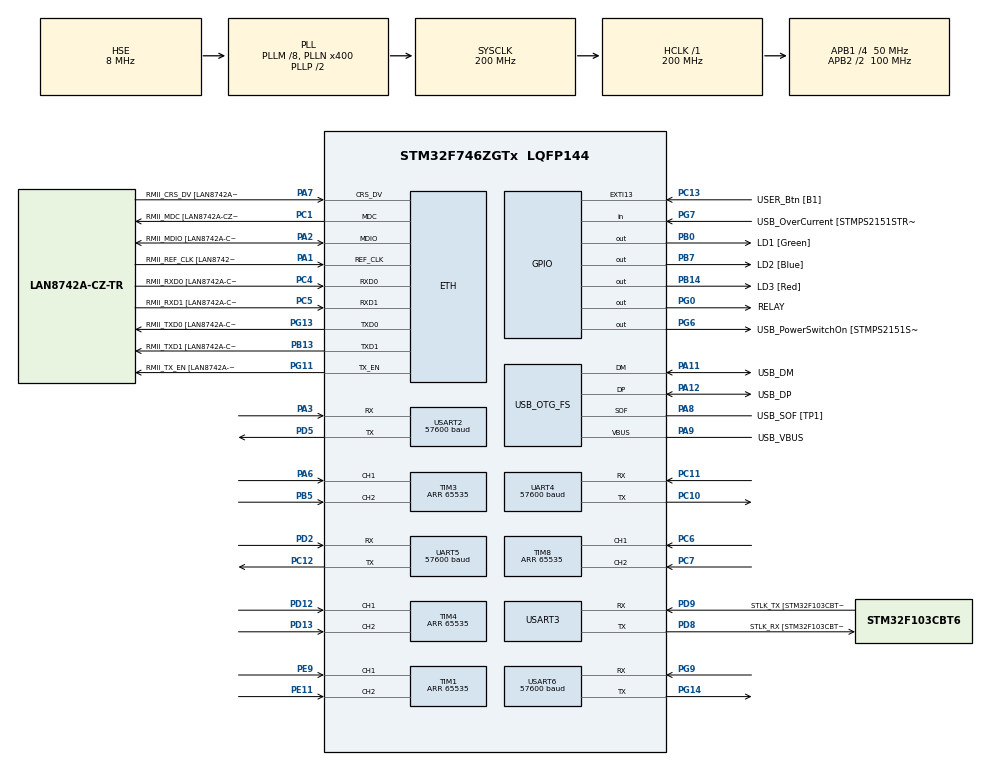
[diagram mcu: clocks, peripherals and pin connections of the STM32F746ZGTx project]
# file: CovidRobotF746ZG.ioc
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ETH.AutoNegotiation=ETH_AUTONEGOTIATION_DISABLE
ETH.MediaInterface=ETH_MEDIA_INTERFACE_RMII
ETH.PHY_Name=LAN8742A_PHY_ADDRESS
ETH.PHY_Value=0
ETH.PhyAddress=0
FREERTOS.Tasks01=Main_Task,48,512,MainTask,As weak,NULL,Dynamic,NULL,NULL;Blink_LED,8,256,BlinkLED,As weak,NULL,Dynamic,NULL,NULL;UDP_Communicati,40,1024,UDPcommunication,As weak,NULL,Dynamic,NULL,NULL;Comp_Wheel_Spds,49,1024,CompWheelSpeeds,As weak,NULL,Dynamic,NULL,NULL
FREERTOS.configENABLE_BACKWARD_COMPATIBILITY=0
FREERTOS.configMINIMAL_STACK_SIZE=256
LWIP.GATEWAY_ADDRESS=192.168.000.001
LWIP.IP_ADDRESS=192.168.000.010
LWIP.LWIP_DHCP=0
LWIP.LWIP_TCP=0
LWIP.MEMP_NUM_NETBUF=4
LWIP.MEMP_NUM_NETCONN=8
LWIP.MEMP_NUM_RAW_PCB=16
LWIP.MEMP_NUM_SYS_TIMEOUT=4
LWIP.MEMP_NUM_TCP_PCB=0
LWIP.NETMASK_ADDRESS=255.255.192.000
LWIP.Version=v2.1.2_Cube
Mcu.Family=STM32F7
Mcu.Name=STM32F746ZGTx
Mcu.Package=LQFP144
NVIC.ETH_IRQn=true\:5\:0\:false\:false\:true\:true\:false\:true
NVIC.PriorityGroup=NVIC_PRIORITYGROUP_4
NVIC.TIM6_DAC_IRQn=true\:0\:0\:false\:false\:true\:false\:false\:true
NVIC.TimeBase=TIM6_DAC_IRQn
NVIC.TimeBaseIP=TIM6
PA1.GPIO_Label=RMII_REF_CLK [LAN8742A-CZ-TR_REFCLK0]
PA1.Mode=RMII
PA1.Signal=ETH_REF_CLK
PA10.GPIO_Label=USB_ID
PA10.Signal=USB_OTG_FS_ID
PA11.GPIO_Label=USB_DM
PA11.Mode=Device_Only
PA11.Signal=USB_OTG_FS_DM
PA12.GPIO_Label=USB_DP
PA12.Mode=Device_Only
PA12.Signal=USB_OTG_FS_DP
PA13.GPIO_Label=TMS
PA13.Mode=Serial_Wire
PA13.Signal=SYS_JTMS-SWDIO
PA14.GPIO_Label=TCK
PA14.Mode=Serial_Wire
PA14.Signal=SYS_JTCK-SWCLK
PA2.GPIO_Label=RMII_MDIO [LAN8742A-CZ-TR_MDIO]
PA2.Mode=RMII
PA2.Signal=ETH_MDIO
PA3.Mode=Asynchronous
PA3.Signal=USART2_RX
PA6.Signal=S_TIM3_CH1
PA7.GPIO_Label=RMII_CRS_DV [LAN8742A-CZ-TR_CRS_DV]
PA7.Mode=RMII
PA7.Signal=ETH_CRS_DV
PA8.GPIO_Label=USB_SOF [TP1]
PA8.Mode=Activate_SOF_FS
PA8.Signal=USB_OTG_FS_SOF
PA9.GPIO_Label=USB_VBUS
PA9.Mode=Activate_VBUS
PA9.Signal=USB_OTG_FS_VBUS
PB0.GPIO_Label=LD1 [Green]
PB0.Signal=GPIO_Output
PB13.GPIO_Label=RMII_TXD1 [LAN8742A-CZ-TR_TXD1]
PB13.Mode=RMII
PB13.Signal=ETH_TXD1
PB14.GPIO_Label=LD3 [Red]
PB14.Signal=GPIO_Output
PB3.GPIO_Label=SW0
PB3.Signal=SYS_JTDO-SWO
PB5.Signal=S_TIM3_CH2
PB7.GPIO_Label=LD2 [Blue]
PB7.Signal=GPIO_Output
PC1.GPIO_Label=RMII_MDC [LAN8742A-CZ-TR_MDC]
PC1.Mode=RMII
PC1.Signal=ETH_MDC
PC10.Mode=Asynchronous
PC10.Signal=UART4_TX
PC11.Mode=Asynchronous
PC11.Signal=UART4_RX
PC12.Mode=Asynchronous
PC12.Signal=UART5_TX
PC13.GPIO_Label=USER_Btn [B1]
PC13.Signal=GPXTI13
PC14/OSC32_IN.Mode=LSE-External-Oscillator
PC14/OSC32_IN.Signal=RCC_OSC32_IN
PC15/OSC32_OUT.Mode=LSE-External-Oscillator
PC15/OSC32_OUT.Signal=RCC_OSC32_OUT
PC4.GPIO_Label=RMII_RXD0 [LAN8742A-CZ-TR_RXD0]
PC4.Mode=RMII
PC4.Signal=ETH_RXD0
PC5.GPIO_Label=RMII_RXD1 [LAN8742A-CZ-TR_RXD1]
PC5.Mode=RMII
PC5.Signal=ETH_RXD1
PC6.Signal=S_TIM8_CH1
PC7.Signal=S_TIM8_CH2
PD12.Signal=S_TIM4_CH1
PD13.Signal=S_TIM4_CH2
PD2.Mode=Asynchronous
PD2.Signal=UART5_RX
PD5.Mode=Asynchronous
PD5.Signal=USART2_TX
PD8.GPIO_Label=STLK_RX [STM32F103CBT6_PA3]
PD8.Mode=Asynchronous
PD8.Signal=USART3_TX
PD9.GPIO_Label=STLK_TX [STM32F103CBT6_PA2]
PD9.Mode=Asynchronous
PD9.Signal=USART3_RX
PE11.Signal=S_TIM1_CH2
PE9.Signal=S_TIM1_CH1
PG0.GPIO_Label=RELAY
PG0.Signal=GPIO_Output
PG11.GPIO_Label=RMII_TX_EN [LAN8742A-CZ-TR_TXEN]
PG11.Mode=RMII
PG11.Signal=ETH_TX_EN
PG13.GPIO_Label=RMII_TXD0 [LAN8742A-CZ-TR_TXD0]
PG13.Mode=RMII
PG13.Signal=ETH_TXD0
PG14.Mode=Asynchronous
PG14.Signal=USART6_TX
PG6.GPIO_Label=USB_PowerSwitchOn [STMPS2151STR_EN]
PG6.Signal=GPIO_Output
PG7.GPIO_Label=USB_OverCurrent [STMPS2151STR_FAULT]
PG7.Signal=GPIO_Input
PG9.Mode=Asynchronous
PG9.Signal=USART6_RX
PH0/OSC_IN.GPIO_Label=MCO [STM32F103CBT6_PA8]
PH0/OSC_IN.Mode=HSE-External-Clock-Source
PH0/OSC_IN.Signal=RCC_OSC_IN
PH1/OSC_OUT.Mode=HSE-External-Clock-Source
PH1/OSC_OUT.Signal=RCC_OSC_OUT
ProjectManager.HeapSize=0x200
ProjectManager.StackSize=0x400
ProjectManager.TargetToolchain=SW4STM32
RCC.48MHZClocksFreq_Value=24000000
RCC.AHBFreq_Value=200000000
RCC.APB1CLKDivider=RCC_HCLK_DIV4
RCC.APB1Freq_Value=50000000
RCC.APB1TimFreq_Value=100000000
RCC.APB2CLKDivider=RCC_HCLK_DIV2
RCC.APB2Freq_Value=100000000
RCC.APB2TimFreq_Value=200000000
RCC.CortexFreq_Value=200000000
RCC.HCLKFreq_Value=200000000
RCC.HSE_VALUE=8000000
RCC.HSI_VALUE=16000000
RCC.PLL48CLockSelection=RCC_CLK48SOURCE_PLLSAIP
RCC.PLLM=8
RCC.PLLMUL=RCC_PLL_MUL9
RCC.PLLN=400
RCC.PLLQ=8
RCC.PLLSAIP=RCC_PLLSAIP_DIV4
RCC.PRESCALERUSB=RCC_USBCLKSOURCE_PLL_DIV1_5
RCC.SYSCLKFreq_VALUE=200000000
RCC.SYSCLKSource=RCC_SYSCLKSOURCE_PLLCLK
RCC.SYSCLKSourceVirtual=RCC_SYSCLKSOURCE_PLLCLK
RCC.USBFreq_Value=48000000
RCC.VCOOutputFreq_Value=400000000
SH.S_TIM1_CH1.0=TIM1_CH1,Encoder_Interface
SH.S_TIM1_CH2.0=TIM1_CH2,Encoder_Interface
SH.S_TIM3_CH1.0=TIM3_CH1,Encoder_Interface
SH.S_TIM3_CH2.0=TIM3_CH2,Encoder_Interface
SH.S_TIM4_CH1.0=TIM4_CH1,Encoder_Interface
SH.S_TIM4_CH2.0=TIM4_CH2,Encoder_Interface
SH.S_TIM8_CH1.0=TIM8_CH1,Encoder_Interface
SH.S_TIM8_CH2.0=TIM8_CH2,Encoder_Interface
TIM1.EncoderMode=TIM_ENCODERMODE_TI12
TIM1.IC1Filter=5
TIM1.IC2Filter=5
TIM1.Period=65535
TIM3.EncoderMode=TIM_ENCODERMODE_TI12
TIM3.IC1Filter=5
TIM3.IC2Filter=5
TIM3.Period=65535
TIM4.EncoderMode=TIM_ENCODERMODE_TI12
TIM4.IC1Filter=5
TIM4.IC2Filter=5
TIM4.Period=65535
TIM8.EncoderMode=TIM_ENCODERMODE_TI12
TIM8.IC1Filter=5
TIM8.IC2Filter=5
TIM8.Period=65535
UART4.BaudRate=57600
UART5.BaudRate=57600
USART2.BaudRate=57600
USART2.VirtualMode-Asynchronous=VM_ASYNC
USART3.VirtualMode-Asynchronous=VM_ASYNC
USART6.BaudRate=57600
USART6.VirtualMode-Asynchronous=VM_ASYNC
USB_OTG_FS.VirtualMode=Device_Only
VP_FREERTOS_VS_CMSIS_V2.Mode=CMSIS_V2
VP_LWIP_VS_Enabled.Mode=Enabled
VP_SYS_VS_tim6.Mode=TIM6
board=NUCLEO-F746ZG

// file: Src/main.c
/* USER CODE BEGIN Header */
/**
  ******************************************************************************
  * @file           : main.c
  * @brief          : Main program body
  ******************************************************************************
  * @attention
  *
  * <h2><center>&copy; Copyright (c) 2020 STMicroelectronics.
  * All rights reserved.</center></h2>
  *
  * This software component is licensed by ST under Ultimate Liberty license
  * SLA0044, the "License"; You may not use this file except in compliance with
  * the License. You may obtain a copy of the License at:
  *                             www.st.com/SLA0044
  *
  ******************************************************************************
  */
/* USER CODE END Header */
#include "main.h"
#include "cmsis_os.h"
#include "lwip.h"

TIM_HandleTypeDef htim1;
TIM_HandleTypeDef htim3;
TIM_HandleTypeDef htim4;
TIM_HandleTypeDef htim8;

UART_HandleTypeDef huart4;
UART_HandleTypeDef huart5;
UART_HandleTypeDef huart2;
UART_HandleTypeDef huart3;
UART_HandleTypeDef huart6;

PCD_HandleTypeDef hpcd_USB_OTG_FS;

/* Definitions for Main_Task */
osThreadId_t Main_TaskHandle;
const osThreadAttr_t Main_Task_attributes = {
  .name = "Main_Task",
  .stack_size = 512 * 4,
  .priority = (osPriority_t) osPriorityRealtime,
};
/* Definitions for Blink_LED */
osThreadId_t Blink_LEDHandle;
const osThreadAttr_t Blink_LED_attributes = {
  .name = "Blink_LED",
  .stack_size = 256 * 4,
  .priority = (osPriority_t) osPriorityLow,
};
/* Definitions for UDP_Communicati */
osThreadId_t UDP_CommunicatiHandle;
const osThreadAttr_t UDP_Communicati_attributes = {
  .name = "UDP_Communicati",
  .stack_size = 1024 * 4,
  .priority = (osPriority_t) osPriorityHigh,
};
/* Definitions for Comp_Wheel_Spds */
osThreadId_t Comp_Wheel_SpdsHandle;
const osThreadAttr_t Comp_Wheel_Spds_attributes = {
  .name = "Comp_Wheel_Spds",
  .stack_size = 1024 * 4,
  .priority = (osPriority_t) osPriorityRealtime1,
};
/* USER CODE BEGIN PV */
uint8_t V_AR_hB=0;
uint8_t V_AR_lB=0;
uint8_t V_AL_hB=0;
uint8_t V_AL_lB=0;
uint8_t V_PR_hB=0;
uint8_t V_PR_lB=0;
uint8_t V_PL_hB=0;
uint8_t V_PL_lB=0;

uint8_t MotorEnable=0;
uint8_t WriteMotorState=0;
uint8_t LampEnable=0;

long int mywatchdog=1200;

UART_HandleTypeDef *SERIALDEBUG = &huart3;
UART_HandleTypeDef *MOTOR_AR = &huart4;
UART_HandleTypeDef *MOTOR_AL = &huart5;
UART_HandleTypeDef *MOTOR_PR = &huart6;
UART_HandleTypeDef *MOTOR_PL = &huart2;

float speed_AR = 0;
float speed_AL = 0;
float speed_PR = 0;
float speed_PL = 0;

/*
 * Motor AR -> UART 4 -> TIM 8
 * Motor AL -> UART 5 -> TIM 3
 * Motor PR -> UART 6 -> TIM 1
 * Motor AL -> UART 2 -> TIM 4
 */

/* USER CODE END PV */

void SystemClock_Config(void);
static void MX_GPIO_Init(void);
static void MX_USART3_UART_Init(void);
static void MX_USB_OTG_FS_PCD_Init(void);
static void MX_TIM1_Init(void);
static void MX_TIM3_Init(void);
static void MX_TIM4_Init(void);
static void MX_TIM8_Init(void);
static void MX_UART4_Init(void);
static void MX_UART5_Init(void);
static void MX_USART2_UART_Init(void);
static void MX_USART6_UART_Init(void);
void MainTask(void *argument);
void BlinkLED(void *argument);
void UDPcommunication(void *argument);
void CompWheelSpeeds(void *argument);

int main(void)
{

  /* MCU Configuration--------------------------------------------------------*/

  /* Reset of all peripherals, Initializes the Flash interface and the Systick. */
  HAL_Init();

  /* Configure the system clock */
  SystemClock_Config();

  /* Initialize all configured peripherals */
  MX_GPIO_Init();
  MX_USART3_UART_Init();
  MX_USB_OTG_FS_PCD_Init();
  MX_TIM1_Init();
  MX_TIM3_Init();
  MX_TIM4_Init();
  MX_TIM8_Init();
  MX_UART4_Init();
  MX_UART5_Init();
  MX_USART2_UART_Init();
  MX_USART6_UART_Init();
  /* USER CODE BEGIN 2 */
  HAL_GPIO_WritePin(RELAY_GPIO_Port, RELAY_Pin, 1);
  HAL_TIM_Encoder_Start(&htim1,TIM_CHANNEL_ALL);
  HAL_TIM_Encoder_Start(&htim3,TIM_CHANNEL_ALL);
  HAL_TIM_Encoder_Start(&htim4,TIM_CHANNEL_ALL);
  HAL_TIM_Encoder_Start(&htim8,TIM_CHANNEL_ALL);

  uint8_t numofstartupblinks;
  for (numofstartupblinks=0; numofstartupblinks<3; numofstartupblinks++) {
  	  HAL_GPIO_WritePin(LD1_GPIO_Port, LD1_Pin, 1);
  	  HAL_Delay(50);
  	  HAL_GPIO_WritePin(LD1_GPIO_Port, LD1_Pin, 0);
  	  HAL_Delay(50);
  	  HAL_GPIO_WritePin(LD2_GPIO_Port, LD2_Pin, 1);
  	  HAL_Delay(50);
  	  HAL_GPIO_WritePin(LD2_GPIO_Port, LD2_Pin, 0);
  	  HAL_Delay(50);
  	  HAL_GPIO_WritePin(LD3_GPIO_Port, LD3_Pin, 1);
  	  HAL_Delay(50);
  	  HAL_GPIO_WritePin(LD3_GPIO_Port, LD3_Pin, 0);
  	  HAL_Delay(50);
  	  HAL_GPIO_WritePin(LD1_GPIO_Port, LD1_Pin, 1);
  	  HAL_Delay(50);
  	  HAL_GPIO_WritePin(LD1_GPIO_Port, LD1_Pin, 0);
  	  HAL_Delay(50);
  	  HAL_GPIO_WritePin(LD2_GPIO_Port, LD2_Pin, 1);
  	  HAL_Delay(50);
  	  HAL_GPIO_WritePin(LD2_GPIO_Port, LD2_Pin, 0);
  	  HAL_Delay(50);
  	  HAL_GPIO_WritePin(LD3_GPIO_Port, LD3_Pin, 1);
  	  HAL_Delay(50);
  	  HAL_GPIO_WritePin(LD3_GPIO_Port, LD3_Pin, 0);
  	  HAL_Delay(50);

  	  HAL_GPIO_WritePin(LD1_GPIO_Port, LD1_Pin, 1);
  	  HAL_GPIO_WritePin(LD2_GPIO_Port, LD2_Pin, 1);
  	  HAL_GPIO_WritePin(LD3_GPIO_Port, LD3_Pin, 1);
  	  HAL_Delay(100);
  	  HAL_GPIO_WritePin(LD1_GPIO_Port, LD1_Pin, 0);
  	  HAL_GPIO_WritePin(LD2_GPIO_Port, LD2_Pin, 0);
  	  HAL_GPIO_WritePin(LD3_GPIO_Port, LD3_Pin, 0);
  	  HAL_Delay(100);

  	  HAL_GPIO_WritePin(LD1_GPIO_Port, LD1_Pin, 1);
  	  HAL_GPIO_WritePin(LD2_GPIO_Port, LD2_Pin, 1);
  	  HAL_GPIO_WritePin(LD3_GPIO_Port, LD3_Pin, 1);
  	  HAL_Delay(100);
  	  HAL_GPIO_WritePin(LD1_GPIO_Port, LD1_Pin, 0);
  	  HAL_GPIO_WritePin(LD2_GPIO_Port, LD2_Pin, 0);
  	  HAL_GPIO_WritePin(LD3_GPIO_Port, LD3_Pin, 0);
  	  HAL_Delay(100);
    }

    HAL_GPIO_WritePin(LD1_GPIO_Port, LD1_Pin, 0);
    HAL_GPIO_WritePin(LD2_GPIO_Port, LD2_Pin, 0);
    HAL_GPIO_WritePin(LD3_GPIO_Port, LD3_Pin, 0);

  /* USER CODE END 2 */

  /* Init scheduler */
  osKernelInitialize();

  /* Create the thread(s) */
  /* creation of Main_Task */
  Main_TaskHandle = osThreadNew(MainTask, NULL, &Main_Task_attributes);

  /* creation of Blink_LED */
  Blink_LEDHandle = osThreadNew(BlinkLED, NULL, &Blink_LED_attributes);

  /* creation of UDP_Communicati */
  UDP_CommunicatiHandle = osThreadNew(UDPcommunication, NULL, &UDP_Communicati_attributes);

  /* creation of Comp_Wheel_Spds */
  Comp_Wheel_SpdsHandle = osThreadNew(CompWheelSpeeds, NULL, &Comp_Wheel_Spds_attributes);

  /* Start scheduler */
  osKernelStart();

  /* We should never get here as control is now taken by the scheduler */
  /* Infinite loop */
  while (1)
  {

  }
}

void SystemClock_Config(void)
{
  RCC_OscInitTypeDef RCC_OscInitStruct = {0};
  RCC_ClkInitTypeDef RCC_ClkInitStruct = {0};
  RCC_PeriphCLKInitTypeDef PeriphClkInitStruct = {0};

  /** Configure LSE Drive Capability
  */
  HAL_PWR_EnableBkUpAccess();
  /** Configure the main internal regulator output voltage
  */
  __HAL_RCC_PWR_CLK_ENABLE();
  __HAL_PWR_VOLTAGESCALING_CONFIG(PWR_REGULATOR_VOLTAGE_SCALE1);
  /** Initializes the RCC Oscillators according to the specified parameters
  * in the RCC_OscInitTypeDef structure.
  */
  RCC_OscInitStruct.OscillatorType = RCC_OSCILLATORTYPE_HSE;
  RCC_OscInitStruct.HSEState = RCC_HSE_BYPASS;
  RCC_OscInitStruct.PLL.PLLState = RCC_PLL_ON;
  RCC_OscInitStruct.PLL.PLLSource = RCC_PLLSOURCE_HSE;
  RCC_OscInitStruct.PLL.PLLM = 8;
  RCC_OscInitStruct.PLL.PLLN = 400;
  RCC_OscInitStruct.PLL.PLLP = RCC_PLLP_DIV2;
  RCC_OscInitStruct.PLL.PLLQ = 8;
  if (HAL_RCC_OscConfig(&RCC_OscInitStruct) != HAL_OK)
  {
    Error_Handler();
  }
  /** Activate the Over-Drive mode
  */
  if (HAL_PWREx_EnableOverDrive() != HAL_OK)
  {
    Error_Handler();
  }
  /** Initializes the CPU, AHB and APB buses clocks
  */
  RCC_ClkInitStruct.ClockType = RCC_CLOCKTYPE_HCLK|RCC_CLOCKTYPE_SYSCLK
                              |RCC_CLOCKTYPE_PCLK1|RCC_CLOCKTYPE_PCLK2;
  RCC_ClkInitStruct.SYSCLKSource = RCC_SYSCLKSOURCE_PLLCLK;
  RCC_ClkInitStruct.AHBCLKDivider = RCC_SYSCLK_DIV1;
  RCC_ClkInitStruct.APB1CLKDivider = RCC_HCLK_DIV4;
  RCC_ClkInitStruct.APB2CLKDivider = RCC_HCLK_DIV2;

  if (HAL_RCC_ClockConfig(&RCC_ClkInitStruct, FLASH_LATENCY_6) != HAL_OK)
  {
    Error_Handler();
  }
  PeriphClkInitStruct.PeriphClockSelection = RCC_PERIPHCLK_USART2|RCC_PERIPHCLK_USART3
                              |RCC_PERIPHCLK_USART6|RCC_PERIPHCLK_UART4
                              |RCC_PERIPHCLK_UART5|RCC_PERIPHCLK_CLK48;
  PeriphClkInitStruct.PLLSAI.PLLSAIN = 192;
  PeriphClkInitStruct.PLLSAI.PLLSAIR = 2;
  PeriphClkInitStruct.PLLSAI.PLLSAIQ = 2;
  PeriphClkInitStruct.PLLSAI.PLLSAIP = RCC_PLLSAIP_DIV4;
  PeriphClkInitStruct.PLLSAIDivQ = 1;
  PeriphClkInitStruct.PLLSAIDivR = RCC_PLLSAIDIVR_2;
  PeriphClkInitStruct.Usart2ClockSelection = RCC_USART2CLKSOURCE_PCLK1;
  PeriphClkInitStruct.Usart3ClockSelection = RCC_USART3CLKSOURCE_PCLK1;
  PeriphClkInitStruct.Uart4ClockSelection = RCC_UART4CLKSOURCE_PCLK1;
  PeriphClkInitStruct.Uart5ClockSelection = RCC_UART5CLKSOURCE_PCLK1;
  PeriphClkInitStruct.Usart6ClockSelection = RCC_USART6CLKSOURCE_PCLK2;
  PeriphClkInitStruct.Clk48ClockSelection = RCC_CLK48SOURCE_PLLSAIP;
  if (HAL_RCCEx_PeriphCLKConfig(&PeriphClkInitStruct) != HAL_OK)
  {
    Error_Handler();
  }
}

static void MX_TIM1_Init(void)
{

  TIM_Encoder_InitTypeDef sConfig = {0};
  TIM_MasterConfigTypeDef sMasterConfig = {0};

  htim1.Instance = TIM1;
  htim1.Init.Prescaler = 0;
  htim1.Init.CounterMode = TIM_COUNTERMODE_UP;
  htim1.Init.Period = 65535;
  htim1.Init.ClockDivision = TIM_CLOCKDIVISION_DIV1;
  htim1.Init.RepetitionCounter = 0;
  htim1.Init.AutoReloadPreload = TIM_AUTORELOAD_PRELOAD_DISABLE;
  sConfig.EncoderMode = TIM_ENCODERMODE_TI12;
  sConfig.IC1Polarity = TIM_ICPOLARITY_RISING;
  sConfig.IC1Selection = TIM_ICSELECTION_DIRECTTI;
  sConfig.IC1Prescaler = TIM_ICPSC_DIV1;
  sConfig.IC1Filter = 5;
  sConfig.IC2Polarity = TIM_ICPOLARITY_RISING;
  sConfig.IC2Selection = TIM_ICSELECTION_DIRECTTI;
  sConfig.IC2Prescaler = TIM_ICPSC_DIV1;
  sConfig.IC2Filter = 5;
  if (HAL_TIM_Encoder_Init(&htim1, &sConfig) != HAL_OK)
  {
    Error_Handler();
  }
  sMasterConfig.MasterOutputTrigger = TIM_TRGO_RESET;
  sMasterConfig.MasterOutputTrigger2 = TIM_TRGO2_RESET;
  sMasterConfig.MasterSlaveMode = TIM_MASTERSLAVEMODE_DISABLE;
  if (HAL_TIMEx_MasterConfigSynchronization(&htim1, &sMasterConfig) != HAL_OK)
  {
    Error_Handler();
  }

}

static void MX_TIM3_Init(void)
{

  TIM_Encoder_InitTypeDef sConfig = {0};
  TIM_MasterConfigTypeDef sMasterConfig = {0};

  htim3.Instance = TIM3;
  htim3.Init.Prescaler = 0;
  htim3.Init.CounterMode = TIM_COUNTERMODE_UP;
  htim3.Init.Period = 65535;
  htim3.Init.ClockDivision = TIM_CLOCKDIVISION_DIV1;
  htim3.Init.AutoReloadPreload = TIM_AUTORELOAD_PRELOAD_DISABLE;
  sConfig.EncoderMode = TIM_ENCODERMODE_TI12;
  sConfig.IC1Polarity = TIM_ICPOLARITY_RISING;
  sConfig.IC1Selection = TIM_ICSELECTION_DIRECTTI;
  sConfig.IC1Prescaler = TIM_ICPSC_DIV1;
  sConfig.IC1Filter = 5;
  sConfig.IC2Polarity = TIM_ICPOLARITY_RISING;
  sConfig.IC2Selection = TIM_ICSELECTION_DIRECTTI;
  sConfig.IC2Prescaler = TIM_ICPSC_DIV1;
  sConfig.IC2Filter = 5;
  if (HAL_TIM_Encoder_Init(&htim3, &sConfig) != HAL_OK)
  {
    Error_Handler();
  }
  sMasterConfig.MasterOutputTrigger = TIM_TRGO_RESET;
  sMasterConfig.MasterSlaveMode = TIM_MASTERSLAVEMODE_DISABLE;
  if (HAL_TIMEx_MasterConfigSynchronization(&htim3, &sMasterConfig) != HAL_OK)
  {
    Error_Handler();
  }

}

static void MX_TIM4_Init(void)
{

  TIM_Encoder_InitTypeDef sConfig = {0};
  TIM_MasterConfigTypeDef sMasterConfig = {0};

  htim4.Instance = TIM4;
  htim4.Init.Prescaler = 0;
  htim4.Init.CounterMode = TIM_COUNTERMODE_UP;
  htim4.Init.Period = 65535;
  htim4.Init.ClockDivision = TIM_CLOCKDIVISION_DIV1;
  htim4.Init.AutoReloadPreload = TIM_AUTORELOAD_PRELOAD_DISABLE;
  sConfig.EncoderMode = TIM_ENCODERMODE_TI12;
  sConfig.IC1Polarity = TIM_ICPOLARITY_RISING;
  sConfig.IC1Selection = TIM_ICSELECTION_DIRECTTI;
  sConfig.IC1Prescaler = TIM_ICPSC_DIV1;
  sConfig.IC1Filter = 5;
  sConfig.IC2Polarity = TIM_ICPOLARITY_RISING;
  sConfig.IC2Selection = TIM_ICSELECTION_DIRECTTI;
  sConfig.IC2Prescaler = TIM_ICPSC_DIV1;
  sConfig.IC2Filter = 5;
  if (HAL_TIM_Encoder_Init(&htim4, &sConfig) != HAL_OK)
  {
    Error_Handler();
  }
  sMasterConfig.MasterOutputTrigger = TIM_TRGO_RESET;
  sMasterConfig.MasterSlaveMode = TIM_MASTERSLAVEMODE_DISABLE;
  if (HAL_TIMEx_MasterConfigSynchronization(&htim4, &sMasterConfig) != HAL_OK)
  {
    Error_Handler();
  }

}

static void MX_TIM8_Init(void)
{

  TIM_Encoder_InitTypeDef sConfig = {0};
  TIM_MasterConfigTypeDef sMasterConfig = {0};

  htim8.Instance = TIM8;
  htim8.Init.Prescaler = 0;
  htim8.Init.CounterMode = TIM_COUNTERMODE_UP;
  htim8.Init.Period = 65535;
  htim8.Init.ClockDivision = TIM_CLOCKDIVISION_DIV1;
  htim8.Init.RepetitionCounter = 0;
  htim8.Init.AutoReloadPreload = TIM_AUTORELOAD_PRELOAD_DISABLE;
  sConfig.EncoderMode = TIM_ENCODERMODE_TI12;
  sConfig.IC1Polarity = TIM_ICPOLARITY_RISING;
  sConfig.IC1Selection = TIM_ICSELECTION_DIRECTTI;
  sConfig.IC1Prescaler = TIM_ICPSC_DIV1;
  sConfig.IC1Filter = 5;
  sConfig.IC2Polarity = TIM_ICPOLARITY_RISING;
  sConfig.IC2Selection = TIM_ICSELECTION_DIRECTTI;
  sConfig.IC2Prescaler = TIM_ICPSC_DIV1;
  sConfig.IC2Filter = 5;
  if (HAL_TIM_Encoder_Init(&htim8, &sConfig) != HAL_OK)
  {
    Error_Handler();
  }
  sMasterConfig.MasterOutputTrigger = TIM_TRGO_RESET;
  sMasterConfig.MasterOutputTrigger2 = TIM_TRGO2_RESET;
  sMasterConfig.MasterSlaveMode = TIM_MASTERSLAVEMODE_DISABLE;
  if (HAL_TIMEx_MasterConfigSynchronization(&htim8, &sMasterConfig) != HAL_OK)
  {
    Error_Handler();
  }

}

static void MX_UART4_Init(void)
{

  huart4.Instance = UART4;
  huart4.Init.BaudRate = 57600;
  huart4.Init.WordLength = UART_WORDLENGTH_8B;
  huart4.Init.StopBits = UART_STOPBITS_1;
  huart4.Init.Parity = UART_PARITY_NONE;
  huart4.Init.Mode = UART_MODE_TX_RX;
  huart4.Init.HwFlowCtl = UART_HWCONTROL_NONE;
  huart4.Init.OverSampling = UART_OVERSAMPLING_16;
  huart4.Init.OneBitSampling = UART_ONE_BIT_SAMPLE_DISABLE;
  huart4.AdvancedInit.AdvFeatureInit = UART_ADVFEATURE_NO_INIT;
  if (HAL_UART_Init(&huart4) != HAL_OK)
  {
    Error_Handler();
  }

}

static void MX_UART5_Init(void)
{

  huart5.Instance = UART5;
  huart5.Init.BaudRate = 57600;
  huart5.Init.WordLength = UART_WORDLENGTH_8B;
  huart5.Init.StopBits = UART_STOPBITS_1;
  huart5.Init.Parity = UART_PARITY_NONE;
  huart5.Init.Mode = UART_MODE_TX_RX;
  huart5.Init.HwFlowCtl = UART_HWCONTROL_NONE;
  huart5.Init.OverSampling = UART_OVERSAMPLING_16;
  huart5.Init.OneBitSampling = UART_ONE_BIT_SAMPLE_DISABLE;
  huart5.AdvancedInit.AdvFeatureInit = UART_ADVFEATURE_NO_INIT;
  if (HAL_UART_Init(&huart5) != HAL_OK)
  {
    Error_Handler();
  }

}

static void MX_USART2_UART_Init(void)
{

  huart2.Instance = USART2;
  huart2.Init.BaudRate = 57600;
  huart2.Init.WordLength = UART_WORDLENGTH_8B;
  huart2.Init.StopBits = UART_STOPBITS_1;
  huart2.Init.Parity = UART_PARITY_NONE;
  huart2.Init.Mode = UART_MODE_TX_RX;
  huart2.Init.HwFlowCtl = UART_HWCONTROL_NONE;
  huart2.Init.OverSampling = UART_OVERSAMPLING_16;
  huart2.Init.OneBitSampling = UART_ONE_BIT_SAMPLE_DISABLE;
  huart2.AdvancedInit.AdvFeatureInit = UART_ADVFEATURE_NO_INIT;
  if (HAL_UART_Init(&huart2) != HAL_OK)
  {
    Error_Handler();
  }

}

static void MX_USART3_UART_Init(void)
{

  huart3.Instance = USART3;
  huart3.Init.BaudRate = 115200;
  huart3.Init.WordLength = UART_WORDLENGTH_8B;
  huart3.Init.StopBits = UART_STOPBITS_1;
  huart3.Init.Parity = UART_PARITY_NONE;
  huart3.Init.Mode = UART_MODE_TX_RX;
  huart3.Init.HwFlowCtl = UART_HWCONTROL_NONE;
  huart3.Init.OverSampling = UART_OVERSAMPLING_16;
  huart3.Init.OneBitSampling = UART_ONE_BIT_SAMPLE_DISABLE;
  huart3.AdvancedInit.AdvFeatureInit = UART_ADVFEATURE_NO_INIT;
  if (HAL_UART_Init(&huart3) != HAL_OK)
  {
    Error_Handler();
  }

}

static void MX_USART6_UART_Init(void)
{

  huart6.Instance = USART6;
  huart6.Init.BaudRate = 57600;
  huart6.Init.WordLength = UART_WORDLENGTH_8B;
  huart6.Init.StopBits = UART_STOPBITS_1;
  huart6.Init.Parity = UART_PARITY_NONE;
  huart6.Init.Mode = UART_MODE_TX_RX;
  huart6.Init.HwFlowCtl = UART_HWCONTROL_NONE;
  huart6.Init.OverSampling = UART_OVERSAMPLING_16;
  huart6.Init.OneBitSampling = UART_ONE_BIT_SAMPLE_DISABLE;
  huart6.AdvancedInit.AdvFeatureInit = UART_ADVFEATURE_NO_INIT;
  if (HAL_UART_Init(&huart6) != HAL_OK)
  {
    Error_Handler();
  }

}

static void MX_USB_OTG_FS_PCD_Init(void)
{

  hpcd_USB_OTG_FS.Instance = USB_OTG_FS;
  hpcd_USB_OTG_FS.Init.dev_endpoints = 6;
  hpcd_USB_OTG_FS.Init.speed = PCD_SPEED_FULL;
  hpcd_USB_OTG_FS.Init.dma_enable = DISABLE;
  hpcd_USB_OTG_FS.Init.phy_itface = PCD_PHY_EMBEDDED;
  hpcd_USB_OTG_FS.Init.Sof_enable = ENABLE;
  hpcd_USB_OTG_FS.Init.low_power_enable = DISABLE;
  hpcd_USB_OTG_FS.Init.lpm_enable = DISABLE;
  hpcd_USB_OTG_FS.Init.vbus_sensing_enable = ENABLE;
  hpcd_USB_OTG_FS.Init.use_dedicated_ep1 = DISABLE;
  if (HAL_PCD_Init(&hpcd_USB_OTG_FS) != HAL_OK)
  {
    Error_Handler();
  }

}

static void MX_GPIO_Init(void)
{
  GPIO_InitTypeDef GPIO_InitStruct = {0};

  /* GPIO Ports Clock Enable */
  __HAL_RCC_GPIOC_CLK_ENABLE();
  __HAL_RCC_GPIOH_CLK_ENABLE();
  __HAL_RCC_GPIOA_CLK_ENABLE();
  __HAL_RCC_GPIOB_CLK_ENABLE();
  __HAL_RCC_GPIOG_CLK_ENABLE();
  __HAL_RCC_GPIOE_CLK_ENABLE();
  __HAL_RCC_GPIOD_CLK_ENABLE();

  /*Configure GPIO pin Output Level */
  HAL_GPIO_WritePin(GPIOB, LD1_Pin|LD3_Pin|LD2_Pin, GPIO_PIN_RESET);

  /*Configure GPIO pin Output Level */
  HAL_GPIO_WritePin(GPIOG, RELAY_Pin|USB_PowerSwitchOn_Pin, GPIO_PIN_RESET);

  /*Configure GPIO pin : USER_Btn_Pin */
  GPIO_InitStruct.Pin = USER_Btn_Pin;
  GPIO_InitStruct.Mode = GPIO_MODE_IT_RISING;
  GPIO_InitStruct.Pull = GPIO_NOPULL;
  HAL_GPIO_Init(USER_Btn_GPIO_Port, &GPIO_InitStruct);

  /*Configure GPIO pins : LD1_Pin LD3_Pin LD2_Pin */
  GPIO_InitStruct.Pin = LD1_Pin|LD3_Pin|LD2_Pin;
  GPIO_InitStruct.Mode = GPIO_MODE_OUTPUT_PP;
  GPIO_InitStruct.Pull = GPIO_NOPULL;
  GPIO_InitStruct.Speed = GPIO_SPEED_FREQ_LOW;
  HAL_GPIO_Init(GPIOB, &GPIO_InitStruct);

  /*Configure GPIO pins : RELAY_Pin USB_PowerSwitchOn_Pin */
  GPIO_InitStruct.Pin = RELAY_Pin|USB_PowerSwitchOn_Pin;
  GPIO_InitStruct.Mode = GPIO_MODE_OUTPUT_PP;
  GPIO_InitStruct.Pull = GPIO_NOPULL;
  GPIO_InitStruct.Speed = GPIO_SPEED_FREQ_LOW;
  HAL_GPIO_Init(GPIOG, &GPIO_InitStruct);

  /*Configure GPIO pin : USB_OverCurrent_Pin */
  GPIO_InitStruct.Pin = USB_OverCurrent_Pin;
  GPIO_InitStruct.Mode = GPIO_MODE_INPUT;
  GPIO_InitStruct.Pull = GPIO_NOPULL;
  HAL_GPIO_Init(USB_OverCurrent_GPIO_Port, &GPIO_InitStruct);

}

/* USER CODE BEGIN 4 */

void recv_fun(void *arg, struct udp_pcb *pcb, struct pbuf *datarecv, const ip_addr_t *addr, uint16_t port){
	mywatchdog=1200;
	V_AR_lB=pbuf_get_at(datarecv,0);
	V_AR_hB=pbuf_get_at(datarecv,1);
	V_AL_lB=pbuf_get_at(datarecv,2);
	V_AL_hB=pbuf_get_at(datarecv,3);
	V_PR_lB=pbuf_get_at(datarecv,4);
	V_PR_hB=pbuf_get_at(datarecv,5);
	V_PL_lB=pbuf_get_at(datarecv,6);
	V_PL_hB=pbuf_get_at(datarecv,7);
	LampEnable=(pbuf_get_at(datarecv,8)&0x08)>>3;
	MotorEnable=(pbuf_get_at(datarecv,8)&0x02)>>1;
	WriteMotorState=(pbuf_get_at(datarecv,8)&0x01);
	pbuf_free(datarecv);
}

char checksumbyte(char addressbyte, char highvaluebyte, char lowvaluebyte){
	return addressbyte+highvaluebyte+lowvaluebyte;
}

void start_motor(UART_HandleTypeDef *huart){
	/*SENDING MESSAGE*/
	char address=0x00;
	char message[4]={address,0x00,0x01,0x01};
	HAL_UART_Transmit(huart,message,4,3);
}

void stop_motor(UART_HandleTypeDef *huart){
	/*SENDING MESSAGE*/
	char address=0x00;
	char message[4]={address,0x00,0x00,0x00};
	HAL_UART_Transmit(huart,message,4,3);
}

void motor_setPCspeedcontrolmode(UART_HandleTypeDef *huart){
	/*SENDING MESSAGE*/
	char address=0x02;
	char message[4]={address,0x00,0xc4,0xc6};
	HAL_UART_Transmit(huart,message,4,3);
}

void set_accelerationdeceleration(UART_HandleTypeDef *huart, char accel, char decel){
	/*SENDING MESSAGE*/
	char address=0x0a;
	char message[4]={address,accel,decel,checksumbyte(address,accel,decel)};
	HAL_UART_Transmit(huart,message,4,3);
}

void set_motorspeed(UART_HandleTypeDef *huart, char highvaluebyte, char lowvaluebyte){
	/*SENDING MESSAGE*/
	char address=0x06;
	char message[4]={address,highvaluebyte,lowvaluebyte,checksumbyte(address,highvaluebyte,lowvaluebyte)};
	HAL_UART_Transmit(huart,message,4,3);
}

void set_speedlimitvalue(UART_HandleTypeDef *huart, char highvaluebyte, char lowvaluebyte){
	/*SENDING MESSAGE*/
	char address=0x1d;
	char message[4]={address,highvaluebyte,lowvaluebyte,checksumbyte(address,highvaluebyte,lowvaluebyte)};
	HAL_UART_Transmit(huart,message,4,3);
}

void debugwithserial(UART_HandleTypeDef *huart){
	  char buffer[256];
	  short int dig_command_AR=(short int)((V_AR_hB<<8)|V_AR_lB);
	  short int dig_command_AL=(short int)((V_AL_hB<<8)|V_AL_lB);
	  short int dig_command_PR=(short int)((V_PR_hB<<8)|V_PR_lB);
	  short int dig_command_PL=(short int)((V_PL_hB<<8)|V_PL_lB);
	  int len=sprintf(buffer,"debug:\t%hi\t%hi\t%hi\t%hi\t%i\t%lu\t%lu\t%lu\t%lu\n",dig_command_AR,dig_command_AL,dig_command_PR,dig_command_PL,MotorEnable,htim8.Instance->CNT,htim3.Instance->CNT,htim1.Instance->CNT,htim4.Instance->CNT);
	  HAL_UART_Transmit(huart,buffer,len,2*len);
}

/* USER CODE END 4 */

__weak void MainTask(void *argument)
{
  /* init code for LWIP */
  MX_LWIP_Init();
  /* USER CODE BEGIN 5 */

  stop_motor(MOTOR_AR);
  stop_motor(MOTOR_AL);
  stop_motor(MOTOR_PR);
  stop_motor(MOTOR_PL);

  uint8_t RelayPinValue;
  uint32_t mytick;

  mytick = osKernelGetTickCount();

  /* Infinite loop */
  for(;;)
  {
	  if (mywatchdog<0){

		  HAL_GPIO_WritePin(RELAY_GPIO_Port,RELAY_Pin,1);
		  stop_motor(MOTOR_AR);
		  stop_motor(MOTOR_AL);
		  stop_motor(MOTOR_PR);
		  stop_motor(MOTOR_PL);
		  osDelay(1);

		  MotorEnable=0;
		  LampEnable=0;
		  set_motorspeed(MOTOR_AR,0,0);
		  set_motorspeed(MOTOR_AL,0,0);
		  set_motorspeed(MOTOR_PR,0,0);
		  set_motorspeed(MOTOR_PL,0,0);

	  }
	  else{
		  if (MotorEnable) {
			  if (WriteMotorState){
				  start_motor(MOTOR_AR);
				  start_motor(MOTOR_AL);
				  start_motor(MOTOR_PR);
				  start_motor(MOTOR_PL);
				  osDelay(1);
			  }
			  set_motorspeed(MOTOR_AR,V_AR_hB,V_AR_lB);
			  set_motorspeed(MOTOR_AL,V_AL_hB,V_AL_lB);
			  set_motorspeed(MOTOR_PR,V_PR_hB,V_PR_lB);
			  set_motorspeed(MOTOR_PL,V_PL_hB,V_PL_lB);
		  }
		  else{
			  stop_motor(MOTOR_AR);
			  stop_motor(MOTOR_AL);
			  stop_motor(MOTOR_PR);
			  stop_motor(MOTOR_PL);
		  }
		  RelayPinValue=(LampEnable+1)%2;
		  HAL_GPIO_WritePin(RELAY_GPIO_Port,RELAY_Pin,RelayPinValue);
	  }
	  /*debugwithserial(SERIALDEBUG);*/
      mytick += 10U;
      osDelayUntil(mytick);
  }
  /* USER CODE END 5 */
}

__weak void BlinkLED(void *argument)
{
  /* USER CODE BEGIN BlinkLED */
	  uint32_t mytick3;
	  mytick3 = osKernelGetTickCount();
  /* Infinite loop */
  for(;;)
  {
	  mytick3+=500U;
	  HAL_GPIO_WritePin(LD1_GPIO_Port,LD1_Pin,1);
	  HAL_GPIO_WritePin(LD2_GPIO_Port,LD2_Pin,1);
	  HAL_GPIO_WritePin(LD3_GPIO_Port,LD3_Pin,1);
	  osDelayUntil(mytick3);
	  mytick3+=500U;
	  HAL_GPIO_WritePin(LD1_GPIO_Port,LD1_Pin,0);
	  HAL_GPIO_WritePin(LD2_GPIO_Port,LD2_Pin,0);
	  HAL_GPIO_WritePin(LD3_GPIO_Port,LD3_Pin,0);
	  osDelayUntil(mytick3);
  }
  /* USER CODE END BlinkLED */
}

__weak void UDPcommunication(void *argument)
{
  /* USER CODE BEGIN UDPcommunication */
	  /*REMOTE ADDRESS*/
	  struct ip4_addr computer_address;
	  IP4_ADDR(&computer_address,192,168,0,100);

	  /*SOCKET UDP*/
	  struct udp_pcb *hudp;
	  hudp=udp_new();
	  udp_bind(hudp,IP4_ADDR_ANY,9999);
	  udp_recv(hudp,recv_fun,NULL);

	  /*REALTIME*/
	  uint32_t mytick2;
	  mytick2 = osKernelGetTickCount();
  /* Infinite loop */
  for(;;)
  {
	  struct pbuf *datasend;
	  datasend = pbuf_alloc(PBUF_TRANSPORT,18,PBUF_RAM);
	  char dati[18];

	  memcpy(&dati[0],(uint8_t*)&speed_AR,4);
	  memcpy(&dati[4],(uint8_t*)&speed_AL,4);
	  memcpy(&dati[8],(uint8_t*)&speed_PR,4);
	  memcpy(&dati[12],(uint8_t*)&speed_PL,4);
	  dati[16]=MotorEnable;
	  dati[17]=LampEnable;

	  memcpy(datasend->payload,dati,18);
	  udp_sendto(hudp,datasend,&computer_address,11111);
      pbuf_free(datasend);
      mywatchdog-=10;
      mytick2 += 10U;
      osDelayUntil(mytick2);
  }
  /* USER CODE END UDPcommunication */
}

__weak void CompWheelSpeeds(void *argument)
{
  /* USER CODE BEGIN CompWheelSpeeds */
	  uint32_t mytick4;
	  int32_t encoderAR=0;
	  int32_t encoderAL=0;
	  int32_t encoderPR=0;
	  int32_t encoderPL=0;
	  uint16_t encoderARnewcount=0;
	  uint16_t encoderALnewcount=0;
	  uint16_t encoderPRnewcount=0;
	  uint16_t encoderPLnewcount=0;
	  uint16_t encoderARoldcount=0;
	  uint16_t encoderALoldcount=0;
	  uint16_t encoderPRoldcount=0;
	  uint16_t encoderPLoldcount=0;
	  int32_t repcntAR=0;
	  int32_t repcntAL=0;
	  int32_t repcntPR=0;
	  int32_t repcntPL=0;
	  int32_t encoderARnew=0;
	  int32_t encoderALnew=0;
	  int32_t encoderPRnew=0;
	  int32_t encoderPLnew=0;
	  float Ts=0.01;
	  float Tf=0.05;
	  float a = Ts/(Ts+Tf);
	  float b = Tf/(Ts+Tf);
	  float speed_AR_old=0;
	  float speed_AL_old=0;
	  float speed_PR_old=0;
	  float speed_PL_old=0;

	  mytick4 = osKernelGetTickCount();

  /* Infinite loop */
  for(;;)
  {
	  encoderARnewcount=htim8.Instance->CNT;
	  encoderALnewcount=htim3.Instance->CNT;
	  encoderPRnewcount=htim1.Instance->CNT;
	  encoderPLnewcount=htim4.Instance->CNT;

	  if ((encoderARnewcount-encoderARoldcount)<(-32768)) {
		  repcntAR++;
	  }
	  else if ((encoderARnewcount-encoderARoldcount)>(32768)){
		  repcntAR--;
	  }
	  if ((encoderALnewcount-encoderALoldcount)<(-32768)) {
		  repcntAL++;
	  }
	  else if ((encoderALnewcount-encoderALoldcount)>(32768)){
		  repcntAL--;
	  }
	  if ((encoderPRnewcount-encoderPRoldcount)<(-32768)) {
		  repcntPR++;
	  }
	  else if ((encoderPRnewcount-encoderPRoldcount)>(32768)){
		  repcntPR--;
	  }
	  if ((encoderPLnewcount-encoderPLoldcount)<(-32768)) {
		  repcntPL++;
	  }
	  else if ((encoderPLnewcount-encoderPLoldcount)>(32768)){
		  repcntPL--;
	  }
	  encoderARnew=repcntAR*65536+encoderARnewcount;
	  encoderALnew=repcntAL*65536+encoderALnewcount;
	  encoderPRnew=repcntPR*65536+encoderPRnewcount;
	  encoderPLnew=repcntPL*65536+encoderPLnewcount;

	  speed_AR=a*speed_AR_old+b*((float)(encoderARnew-encoderAR))/Ts;
	  speed_AL=a*speed_AL_old+b*((float)(encoderALnew-encoderAL))/Ts;
	  speed_PR=a*speed_PR_old+b*((float)(encoderPRnew-encoderPR))/Ts;
	  speed_PL=a*speed_PL_old+b*((float)(encoderPLnew-encoderPL))/Ts;

	  encoderARoldcount=encoderARnewcount;
	  encoderALoldcount=encoderALnewcount;
	  encoderPRoldcount=encoderPRnewcount;
	  encoderPLoldcount=encoderPLnewcount;

	  encoderAR=encoderARnew;
	  encoderAL=encoderALnew;
	  encoderPR=encoderPRnew;
	  encoderPL=encoderPLnew;

	  speed_AR_old=speed_AR;
	  speed_AL_old=speed_AL;
	  speed_PR_old=speed_PR;
	  speed_PL_old=speed_PL;

	  /*REALTIME*/
      mytick4 += 10U;
      osDelayUntil(mytick4);
  }
  /* USER CODE END CompWheelSpeeds */
}

 /**
  * @brief  Period elapsed callback in non blocking mode
  * @note   This function is called  when TIM6 interrupt took place, inside
  * HAL_TIM_IRQHandler(). It makes a direct call to HAL_IncTick() to increment
  * a global variable "uwTick" used as application time base.
  * @param  htim : TIM handle
  * @retval None
  */
void HAL_TIM_PeriodElapsedCallback(TIM_HandleTypeDef *htim)
{
  if (htim->Instance == TIM6) {
    HAL_IncTick();
  }
}

void Error_Handler(void)
{
}

/************************ (C) COPYRIGHT STMicroelectronics *****END OF FILE****/
